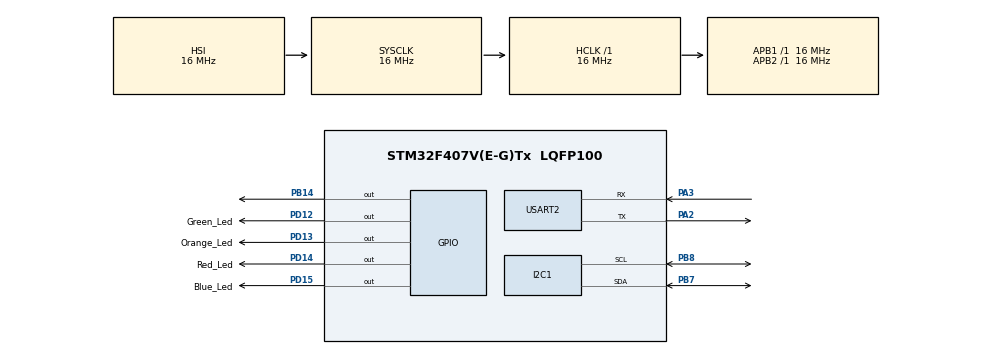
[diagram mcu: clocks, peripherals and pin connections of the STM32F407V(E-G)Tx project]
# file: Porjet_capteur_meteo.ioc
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Mcu.Family=STM32F4
Mcu.Name=STM32F407V(E-G)Tx
Mcu.Package=LQFP100
NVIC.PriorityGroup=NVIC_PRIORITYGROUP_4
NVIC.TIM2_IRQn=true\:0\:0\:false\:false\:true\:true\:true
PA2.Mode=Asynchronous
PA2.Signal=USART2_TX
PA3.Mode=Asynchronous
PA3.Signal=USART2_RX
PB14.Signal=GPIO_Output
PB7.Mode=I2C
PB7.Signal=I2C1_SDA
PB8.Mode=I2C
PB8.Signal=I2C1_SCL
PD12.GPIO_Label=Green_Led
PD12.Signal=GPIO_Output
PD13.GPIO_Label=Orange_Led
PD13.Signal=GPIO_Output
PD14.GPIO_Label=Red_Led
PD14.Signal=GPIO_Output
PD15.GPIO_Label=Blue_Led
PD15.Signal=GPIO_Output
ProjectManager.HeapSize=0x200
ProjectManager.StackSize=0x400
ProjectManager.TargetToolchain=MDK-ARM V5.27
RCC.AHBFreq_Value=16000000
RCC.APB1Freq_Value=16000000
RCC.APB2Freq_Value=16000000
RCC.CortexFreq_Value=16000000
RCC.HSE_VALUE=25000000
RCC.HSI_VALUE=16000000
RCC.LSE_VALUE=32768
RCC.SYSCLKFreq_VALUE=16000000
RCC.VCOOutputFreq_Value=192000000
TIM2.Period=1000
TIM2.Prescaler=16000
USART2.VirtualMode=VM_ASYNC
VP_TIM2_VS_ClockSourceINT.Mode=Internal
board=custom

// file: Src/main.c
/* USER CODE BEGIN Header */
/**
  ******************************************************************************
  * @file           : main.c
  * @brief          : Main program body
  ******************************************************************************
  * @attention
  *
  * <h2><center>&copy; Copyright (c) 2020 STMicroelectronics.
  * All rights reserved.</center></h2>
  *
  * This software component is licensed by ST under BSD 3-Clause license,
  * the "License"; You may not use this file except in compliance with the
  * License. You may obtain a copy of the License at:
  *                        opensource.org/licenses/BSD-3-Clause
  *
  ******************************************************************************
  */
/* USER CODE END Header */

#include "main.h"

/* USER CODE BEGIN Includes */
#include <math.h>
#include <stdio.h>
/* USER CODE END Includes */

I2C_HandleTypeDef hi2c1;

TIM_HandleTypeDef htim2;

UART_HandleTypeDef huart2;

/* USER CODE BEGIN PV */
signed long temperature_raw, pressure_raw, humidity_raw;
unsigned short dig_T1, dig_P1;
signed short dig_T2, dig_T3, dig_P2, dig_P3, dig_P4, dig_P5, dig_P6, dig_P7, dig_P8, dig_P9, dig_H2, dig_H4, dig_H5;
unsigned char dig_H1, dig_H3;
signed char dig_H6;
float temperature, pressure, humidity;

char resultat[100];
uint8_t rx_buffer[8];
double var1, var2;
double t_fine;
/* USER CODE END PV */

void SystemClock_Config(void);
static void MX_GPIO_Init(void);
static void MX_I2C1_Init(void);
static void MX_USART2_UART_Init(void);
static void MX_TIM2_Init(void);
/* USER CODE BEGIN PFP */
void init_BME280(void);
void callibration_BME280(void);
void calc_Temp(void);
void calc_Press(void);
void calc_Hum(void);
void HAL_TIM_PeriodElapsedCallback(TIM_HandleTypeDef *htim);
/* USER CODE END PFP */

int main(void)
{

  /* MCU Configuration--------------------------------------------------------*/

  /* Reset of all peripherals, Initializes the Flash interface and the Systick. */
  HAL_Init();

  /* Configure the system clock */
  SystemClock_Config();

  /* Initialize all configured peripherals */
  MX_GPIO_Init();
  MX_I2C1_Init();
  MX_USART2_UART_Init();
  MX_TIM2_Init();

  /* Infinite loop */
  /* USER CODE BEGIN WHILE */

	HAL_TIM_Base_Start_IT(&htim2);

  while (1)
  {
    /* USER CODE END WHILE */

  }
}

void SystemClock_Config(void)
{
  RCC_OscInitTypeDef RCC_OscInitStruct = {0};
  RCC_ClkInitTypeDef RCC_ClkInitStruct = {0};

  /** Configure the main internal regulator output voltage
  */
  __HAL_RCC_PWR_CLK_ENABLE();
  __HAL_PWR_VOLTAGESCALING_CONFIG(PWR_REGULATOR_VOLTAGE_SCALE1);
  /** Initializes the CPU, AHB and APB busses clocks
  */
  RCC_OscInitStruct.OscillatorType = RCC_OSCILLATORTYPE_HSI;
  RCC_OscInitStruct.HSIState = RCC_HSI_ON;
  RCC_OscInitStruct.HSICalibrationValue = RCC_HSICALIBRATION_DEFAULT;
  RCC_OscInitStruct.PLL.PLLState = RCC_PLL_NONE;
  if (HAL_RCC_OscConfig(&RCC_OscInitStruct) != HAL_OK)
  {
    Error_Handler();
  }
  /** Initializes the CPU, AHB and APB busses clocks
  */
  RCC_ClkInitStruct.ClockType = RCC_CLOCKTYPE_HCLK|RCC_CLOCKTYPE_SYSCLK
                              |RCC_CLOCKTYPE_PCLK1|RCC_CLOCKTYPE_PCLK2;
  RCC_ClkInitStruct.SYSCLKSource = RCC_SYSCLKSOURCE_HSI;
  RCC_ClkInitStruct.AHBCLKDivider = RCC_SYSCLK_DIV1;
  RCC_ClkInitStruct.APB1CLKDivider = RCC_HCLK_DIV1;
  RCC_ClkInitStruct.APB2CLKDivider = RCC_HCLK_DIV1;

  if (HAL_RCC_ClockConfig(&RCC_ClkInitStruct, FLASH_LATENCY_0) != HAL_OK)
  {
    Error_Handler();
  }
}

static void MX_I2C1_Init(void)
{

  hi2c1.Instance = I2C1;
  hi2c1.Init.ClockSpeed = 100000;
  hi2c1.Init.DutyCycle = I2C_DUTYCYCLE_2;
  hi2c1.Init.OwnAddress1 = 0;
  hi2c1.Init.AddressingMode = I2C_ADDRESSINGMODE_7BIT;
  hi2c1.Init.DualAddressMode = I2C_DUALADDRESS_DISABLE;
  hi2c1.Init.OwnAddress2 = 0;
  hi2c1.Init.GeneralCallMode = I2C_GENERALCALL_DISABLE;
  hi2c1.Init.NoStretchMode = I2C_NOSTRETCH_DISABLE;
  if (HAL_I2C_Init(&hi2c1) != HAL_OK)
  {
    Error_Handler();
  }

}

static void MX_TIM2_Init(void)
{

  TIM_ClockConfigTypeDef sClockSourceConfig = {0};
  TIM_MasterConfigTypeDef sMasterConfig = {0};

  htim2.Instance = TIM2;
  htim2.Init.Prescaler = 16000;
  htim2.Init.CounterMode = TIM_COUNTERMODE_UP;
  htim2.Init.Period = 1000;
  htim2.Init.ClockDivision = TIM_CLOCKDIVISION_DIV1;
  htim2.Init.AutoReloadPreload = TIM_AUTORELOAD_PRELOAD_DISABLE;
  if (HAL_TIM_Base_Init(&htim2) != HAL_OK)
  {
    Error_Handler();
  }
  sClockSourceConfig.ClockSource = TIM_CLOCKSOURCE_INTERNAL;
  if (HAL_TIM_ConfigClockSource(&htim2, &sClockSourceConfig) != HAL_OK)
  {
    Error_Handler();
  }
  sMasterConfig.MasterOutputTrigger = TIM_TRGO_RESET;
  sMasterConfig.MasterSlaveMode = TIM_MASTERSLAVEMODE_DISABLE;
  if (HAL_TIMEx_MasterConfigSynchronization(&htim2, &sMasterConfig) != HAL_OK)
  {
    Error_Handler();
  }

}

static void MX_USART2_UART_Init(void)
{

  huart2.Instance = USART2;
  huart2.Init.BaudRate = 115200;
  huart2.Init.WordLength = UART_WORDLENGTH_8B;
  huart2.Init.StopBits = UART_STOPBITS_1;
  huart2.Init.Parity = UART_PARITY_NONE;
  huart2.Init.Mode = UART_MODE_TX_RX;
  huart2.Init.HwFlowCtl = UART_HWCONTROL_NONE;
  huart2.Init.OverSampling = UART_OVERSAMPLING_16;
  if (HAL_UART_Init(&huart2) != HAL_OK)
  {
    Error_Handler();
  }

}

static void MX_GPIO_Init(void)
{
  GPIO_InitTypeDef GPIO_InitStruct = {0};

  /* GPIO Ports Clock Enable */
  __HAL_RCC_GPIOA_CLK_ENABLE();
  __HAL_RCC_GPIOB_CLK_ENABLE();
  __HAL_RCC_GPIOD_CLK_ENABLE();

  /*Configure GPIO pin Output Level */
  HAL_GPIO_WritePin(GPIOB, GPIO_PIN_14, GPIO_PIN_RESET);

  /*Configure GPIO pin Output Level */
  HAL_GPIO_WritePin(GPIOD, Green_Led_Pin|Orange_Led_Pin|Red_Led_Pin|Blue_Led_Pin, GPIO_PIN_RESET);

  /*Configure GPIO pin : PB14 */
  GPIO_InitStruct.Pin = GPIO_PIN_14;
  GPIO_InitStruct.Mode = GPIO_MODE_OUTPUT_PP;
  GPIO_InitStruct.Pull = GPIO_NOPULL;
  GPIO_InitStruct.Speed = GPIO_SPEED_FREQ_LOW;
  HAL_GPIO_Init(GPIOB, &GPIO_InitStruct);

  /*Configure GPIO pins : Green_Led_Pin Orange_Led_Pin Red_Led_Pin Blue_Led_Pin */
  GPIO_InitStruct.Pin = Green_Led_Pin|Orange_Led_Pin|Red_Led_Pin|Blue_Led_Pin;
  GPIO_InitStruct.Mode = GPIO_MODE_OUTPUT_PP;
  GPIO_InitStruct.Pull = GPIO_NOPULL;
  GPIO_InitStruct.Speed = GPIO_SPEED_FREQ_LOW;
  HAL_GPIO_Init(GPIOD, &GPIO_InitStruct);

}

/* USER CODE BEGIN 4 */

void init_BME280(void)
{
		uint8_t register_init[2];

		HAL_GPIO_WritePin(GPIOB,GPIO_PIN_14,GPIO_PIN_SET);

		/*Init*/
		/*Activate measure for temp and press*/
		register_init[0]=0xF4;//register ctrl_meas
		register_init[1]=0x4A;
		HAL_I2C_Master_Transmit(&hi2c1,0xEC,register_init,2,10000);

		/*Activate measure for humidity*/
		/*The “ctrl_hum”register sets the humidity data acquisition options
		of the device.Changes to this register only become effective after
		a write operation to “ctrl_meas”.*/
		register_init[0]=0xF2;//register ctrl_hum
		register_init[1]=0x01;
		HAL_I2C_Master_Transmit(&hi2c1,0xEC,register_init,2,10000);

}

void callibration_BME280(void)
{
		uint8_t rx_buff_temp_press[24];
		uint8_t rx_buff_hum_1[1];
		uint8_t rx_buff_hum_2[7];
		uint8_t starting_address_temp_press=0x88;
		uint8_t starting_address_hum_1=0xA1;
		uint8_t starting_address_hum_2=0xE1;

		/*calibration*/
		HAL_I2C_Master_Transmit(&hi2c1,0xEC,&starting_address_temp_press,1,10000);
		HAL_I2C_Master_Receive(&hi2c1,0xED,&rx_buff_temp_press[0],24,10000);

		dig_T1=(rx_buff_temp_press[0])+(rx_buff_temp_press[1]<<8);
		dig_T2=(rx_buff_temp_press[2])+(rx_buff_temp_press[3]<<8);
		dig_T3=(rx_buff_temp_press[4])+(rx_buff_temp_press[5]<<8);
		dig_P1=(rx_buff_temp_press[6])+(rx_buff_temp_press[7]<<8);
		dig_P2=(rx_buff_temp_press[8])+(rx_buff_temp_press[9]<<8);
		dig_P3=(rx_buff_temp_press[10])+(rx_buff_temp_press[11]<<8);
		dig_P4=(rx_buff_temp_press[12])+(rx_buff_temp_press[13]<<8);
		dig_P5=(rx_buff_temp_press[14])+(rx_buff_temp_press[15]<<8);
		dig_P6=(rx_buff_temp_press[16])+(rx_buff_temp_press[17]<<8);
		dig_P7=(rx_buff_temp_press[18])+(rx_buff_temp_press[19]<<8);
		dig_P8=(rx_buff_temp_press[20])+(rx_buff_temp_press[21]<<8);
		dig_P9=(rx_buff_temp_press[22])+(rx_buff_temp_press[23]<<8);

		HAL_I2C_Master_Transmit(&hi2c1,0xEC,&starting_address_hum_1,1,10000);
		HAL_I2C_Master_Receive(&hi2c1,0xED,&rx_buff_hum_1[0],1,10000);

		dig_H1=rx_buff_hum_1[0];

		HAL_I2C_Master_Transmit(&hi2c1,0xEC,&starting_address_hum_2,1,10000);
		HAL_I2C_Master_Receive(&hi2c1,0xED,&rx_buff_hum_2[0],7,10000);

		dig_H2=(rx_buff_hum_2[1]<<8)|(rx_buff_hum_2[0]);
		dig_H3=rx_buff_hum_2[2];
		dig_H4=(rx_buff_hum_2[3]<<4)|(0x0F & rx_buff_hum_2[4]);
		dig_H5=((rx_buff_hum_2[5]<<4))| ((rx_buff_hum_2[4]>>4) & 0x0F);
		dig_H6=rx_buff_hum_2[6];

}

void calc_Temp(void)
{
		uint8_t starting=0xF7;

		/*Calc value*/
		HAL_I2C_Master_Transmit(&hi2c1,0xEC,&starting,1,10000);
		HAL_I2C_Master_Receive(&hi2c1,0xED,&rx_buffer[0],8,10000);

		volatile uint32_t temp[3];
		temp[2]=rx_buffer[3];
		temp[1]=rx_buffer[4];
		temp[0]=rx_buffer[5];
		temperature_raw=(temp[2]<<12)+(temp[1]<<4)+(temp[0]>>4);

		temp[2]=rx_buffer[0];
		temp[1]=rx_buffer[1];
		temp[0]=rx_buffer[2];
		pressure_raw=(temp[2]<<12)+(temp[1]<<4)+(temp[0]>>4);

		temp[2]=rx_buffer[6];
		temp[1]=rx_buffer[7];
		humidity_raw=(temp[2]<<8)+(temp[1]);

		/*Temperature*/

		var1=(((double)temperature_raw)/16384.0-((double)dig_T1)/1024.0)*((double)dig_T2);
		var2=((((double)temperature_raw)/131072.0-((double)dig_T1)/8192.0)*(((double)temperature_raw)/131072.0-((double)dig_T1)/8192.0))*((double)dig_T3);
		t_fine = (int32_t)(var1+var2);
		volatile	float T = (var1+var2)/5120.0;

		temperature=T;

}

void calc_Press(void)
{
		/*press*/
		var1=((double)t_fine/2.0)-64000.0;
		var2=var1*var1*((double)dig_P6)/32768.0;
		var2=var2+var1*((double)dig_P5)*2.0;
		var2=(var2/4.0)+(((double)dig_P4)*65536.0);
		var1=(((double)dig_P3)*var1*var1/524288.0+((double)dig_P2)*var1)/524288.0;
		var1=(1.0+var1/32768.0)*((double)dig_P1);
		volatile	double p=1048576.0-(double)pressure_raw;
		p=(p-(var2/4096.0))*6250.0/var1;
		var1=((double)dig_P9)*p*p/2147483648.0;
		var2=p*((double)dig_P8)/32768.0;
		p=p+(var1+var2+((double)dig_P7))/16.0;

		pressure=p;
}

void calc_Hum(void)
{
		/*humidity*/
  	var1 = (t_fine - ((int32_t)76800));
		var1 = (((((humidity_raw << 14) - (((int32_t)dig_H4) << 20) - (((int32_t)dig_H5) * var1)) +
		((int32_t)16384))/32768) * (((((((var1 * ((int32_t)dig_H6))/1024) * (((var1 *
		((int32_t)dig_H3))/2048) + ((int32_t)32768)))/1024) + ((int32_t)2097152)) *
		((int32_t)dig_H2) + 8192)/16384));
		var1 = (var1 - (((((var1/32768) * (var1/32768))/128) * ((int32_t)dig_H1))/16));
		var1 = (var1 < 0 ? 0 : var1);
		var1 = (var1 > 419430400 ? 419430400 : var1);
		volatile	double h=((uint32_t)(var1/4096))/1024.0;

	  humidity=h;

}

void HAL_TIM_PeriodElapsedCallback(TIM_HandleTypeDef *htim)
{
		HAL_GPIO_TogglePin(GPIOD,GPIO_PIN_12);
		init_BME280();
		callibration_BME280();
		calc_Temp();
		calc_Press();
		calc_Hum();
		sprintf(resultat,"%f\n%f\n%f\n",temperature,pressure,humidity);

		HAL_UART_Transmit(&huart2,(uint8_t *)resultat,sizeof(resultat),10);
}

/* USER CODE END 4 */

void Error_Handler(void)
{
}

/************************ (C) COPYRIGHT STMicroelectronics *****END OF FILE****/
